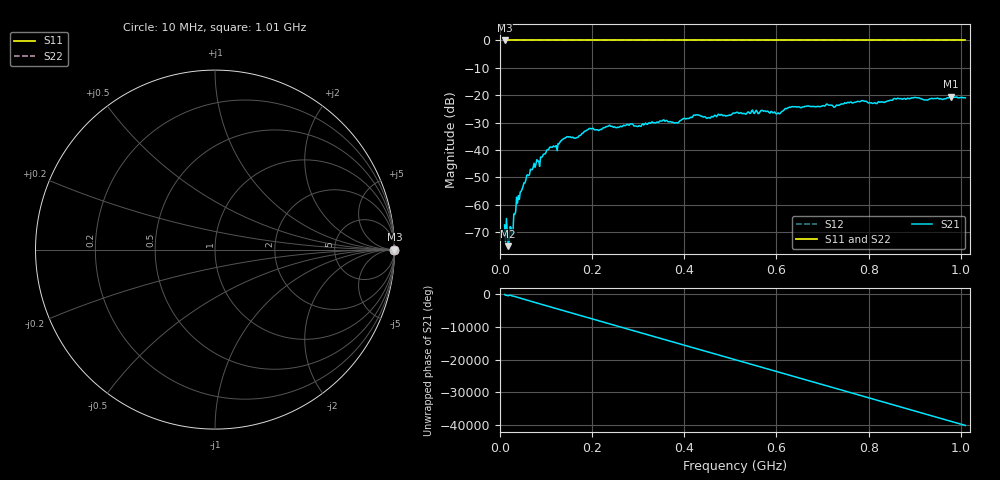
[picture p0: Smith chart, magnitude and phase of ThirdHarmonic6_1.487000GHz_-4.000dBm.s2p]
! 8/16/2025 5:24:12 PM
! C:\ANRITSUVNA\TEMP\TEMP.S2P
! CHANNEL.1
! TR.MEASUREMENT
! RAW.DATA
! RF.CORRECTION.OFF
! AVERAGING.OFF
! IF.BANDWIDTH: 5KHZ
! SWEEPTYPE:  FREQ.SWEEP(Linear)
! Reference Plane Port Info
! PORT:  PORT1  PORT2
! DISTANCE:  0  m  0  m
! TIME:  0  s  0  s
! PHASE.OFFSET:  0  deg.  0  deg.
! LOSS:  0  dB  0  dB
! REF.LOSS:  0  dB  0  dB
! REF.FREQ:  0  Hz  0  Hz
! Power Info
! POWER:  -20  dBm  -20  dBm
! EFF.POWER:  -20  dBm  -20  dBm
! SOURCE.ATTEN:  0  dB  0  dB
! TEST.ATTEN:  0  dB  0  dB
# GHZ S RI R 50.0
! FREQ.GHZ  S11RE  S11IM  S21RE  S21IM  S12RE  S12IM  S22RE  S22IM
!; PortSelection: Port_12
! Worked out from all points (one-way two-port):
!   501 points, 10 MHz to 1.01 GHz, reference 50 ohm
!   highest |S21| = -20.53 dB at 978 MHz (marker M1); lowest = -75.1 dB at 18 MHz (marker M2)
!   lowest |S11| = 0.0 dB at 10 MHz (marker M3)
!   |S11| at or under -10 dB: nowhere
!   |S22| runs from 0.0 to 0.0 dB; largest |S21 - S12| = 1.1
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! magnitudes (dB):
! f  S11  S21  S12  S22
! 10 MHz  0.0  -67.4  0.0  0.0
! 16 MHz  0.0  -70.8  0.0  0.0
! 18 MHz  0.0  -75.1  0.0  0.0
! 24 MHz  0.0  -68.4  0.0  0.0
! 40 MHz  0.0  -56.7  0.0  0.0
! 70 MHz  0.0  -47.2  0.0  0.0
! 106 MHz  0.0  -39.7  0.0  0.0
! 124 MHz  0.0  -40.2  0.0  0.0
! 142 MHz  0.0  -35.6  0.0  0.0
! 178 MHz  0.0  -34.0  0.0  0.0
! 198 MHz  0.0  -32.3  0.0  0.0
! 344 MHz  0.0  -30.0  0.0  0.0
! 382 MHz  0.0  -30.0  0.0  0.0
! 424 MHz  0.0  -27.3  0.0  0.0
! 452 MHz  0.0  -28.2  0.0  0.0
! 510 MHz  0.0  -26.5  0.0  0.0
! 604 MHz  0.0  -26.5  0.0  0.0
! 632 MHz  0.0  -24.2  0.0  0.0
! 678 MHz  0.0  -24.1  0.0  0.0
! 844 MHz  0.0  -22.0  0.0  0.0
! 978 MHz  0.0  -20.5  0.0  0.0
! 1.01 GHz  0.0  -21.0  0.0  0.0
